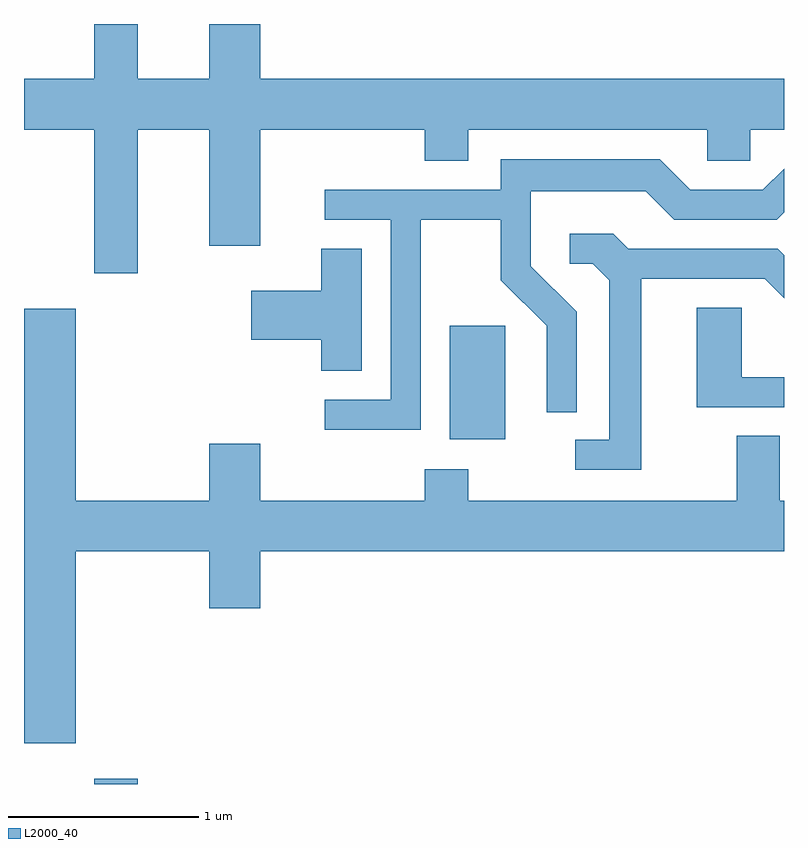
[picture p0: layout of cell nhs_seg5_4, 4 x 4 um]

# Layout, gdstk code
import gdstk
lib = gdstk.Library(unit=1e-6, precision=1e-09)
def R(c, l, rs):  # rectangles x0, y0, x1, y1
    for r in rs: c.add(gdstk.rectangle(r[:2], r[2:], *l))
def P(c, l, *ps):  # polygons
    for p in ps: c.add(gdstk.Polygon(p, *l))
L2000_40 = (2000, 40)

nhs_seg5_4 = lib.new_cell('nhs_seg5_4')
R(nhs_seg5_4, L2000_40, [(185.981,1400.072,186.209,1400.099), (187.851,1401.886,188.144,1402.484)])
P(nhs_seg5_4, L2000_40, [(186.209,1403.516),(186.586,1403.516),(186.586,1402.906),(186.854,1402.906),(186.854,1403.516),(187.721,1403.516),(187.721,1403.351),(187.949,1403.351),(187.949,1403.516),(189.206,1403.516),(189.206,1403.351),(189.434,1403.351),(189.434,1403.516),(189.611,1403.516),(189.611,1403.784),(186.854,1403.784),(186.854,1404.072),(186.586,1404.072),(186.586,1403.784),(186.209,1403.784),(186.209,1404.072),(185.981,1404.072),(185.981,1403.784),(185.611,1403.784),(185.611,1403.516),(185.981,1403.516),(185.981,1402.761),(186.209,1402.761)],
  [(187.699,1403.041),(188.121,1403.041),(188.121,1402.724),(188.361,1402.484),(188.361,1402.028),(188.519,1402.028),(188.519,1402.557),(188.279,1402.797),(188.279,1403.191),(188.884,1403.191),(189.034,1403.041),(189.572,1403.041),(189.611,1403.08),(189.611,1403.311),(189.499,1403.199),(189.117,1403.199),(188.957,1403.359),(188.121,1403.359),(188.121,1403.199),(187.193,1403.199),(187.193,1403.041),(187.541,1403.041),(187.541,1402.094),(187.193,1402.094),(187.193,1401.936),(187.699,1401.936)],
  [(188.859,1402.731),(189.509,1402.731),(189.611,1402.629),(189.611,1402.855),(189.577,1402.889),(188.792,1402.889),(188.712,1402.969),(188.483,1402.969),(188.483,1402.811),(188.604,1402.811),(188.691,1402.724),(188.691,1401.884),(188.513,1401.884),(188.513,1401.726),(188.859,1401.726)],
  [(187.389,1402.889),(187.176,1402.889),(187.176,1402.669),(186.806,1402.669),(186.806,1402.411),(187.176,1402.411),(187.176,1402.246),(187.389,1402.246)],
  [(189.611,1402.214),(189.389,1402.214),(189.389,1402.579),(189.151,1402.579),(189.151,1402.056),(189.611,1402.056)],
  [(185.884,1401.296),(186.586,1401.296),(186.586,1400.996),(186.854,1400.996),(186.854,1401.296),(189.611,1401.296),(189.611,1401.564),(189.589,1401.564),(189.589,1401.904),(189.361,1401.904),(189.361,1401.564),(187.949,1401.564),(187.949,1401.729),(187.721,1401.729),(187.721,1401.564),(186.854,1401.564),(186.854,1401.864),(186.586,1401.864),(186.586,1401.564),(185.884,1401.564),(185.884,1402.574),(185.611,1402.574),(185.611,1400.286),(185.884,1400.286)])

lib.write_gds('nhs_seg5_4.gds')
